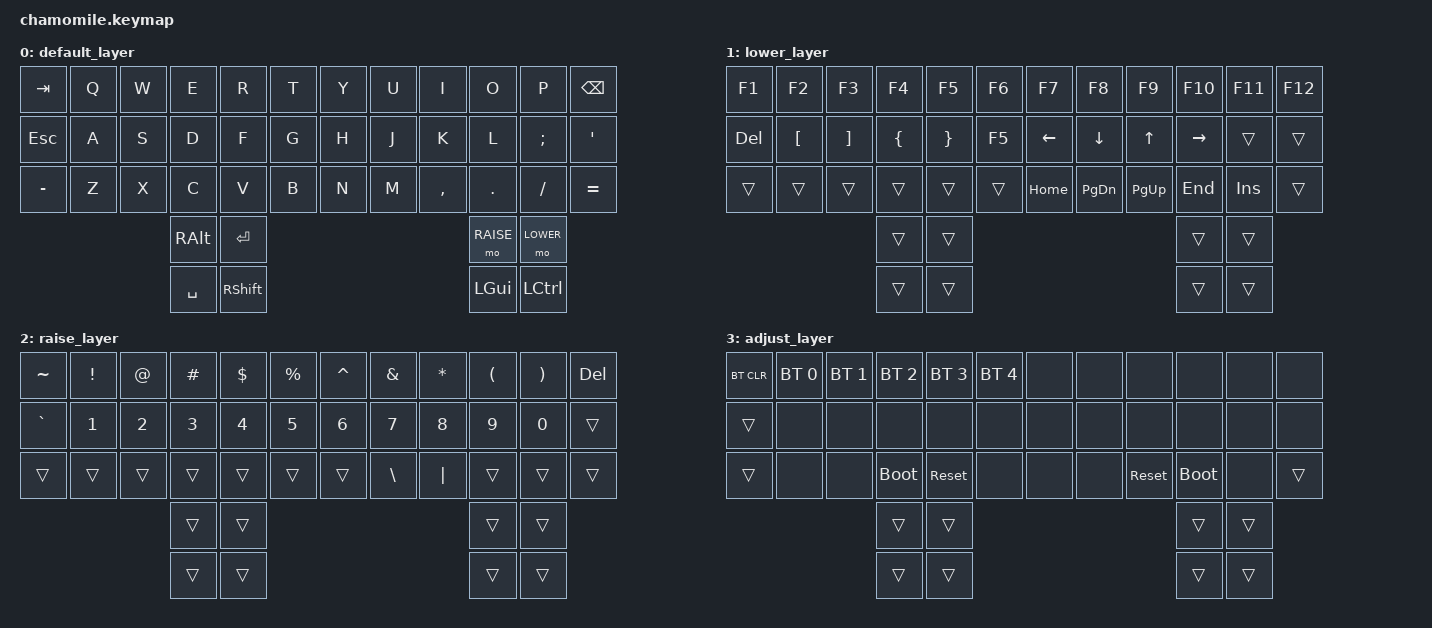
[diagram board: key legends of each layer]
// Copyright (c) 2026 The ZMK Contributors
// SPDX-License-Identifier: MIT

#include <behaviors.dtsi>
#include <dt-bindings/zmk/keys.h>
#include <dt-bindings/zmk/bt.h>
#include <dt-bindings/zmk/outputs.h>

#define BASE   0
#define LOWER  1
#define RAISE  2
#define ADJUST 3

/ {
	keymap {
		compatible = "zmk,keymap";

		default_layer {
			bindings = <
&kp TAB    &kp Q &kp W &kp E &kp R &kp T          &kp Y &kp U &kp I     &kp O    &kp P    &kp BSPC
&kp ESC    &kp A &kp S &kp D &kp F &kp G          &kp H &kp J &kp K     &kp L    &kp SEMI &kp SQT
&kp MINUS  &kp Z &kp X &kp C &kp V &kp B          &kp N &kp M &kp COMMA &kp DOT  &kp FSLH &kp EQUAL
                        &kp RALT  &kp RET                                &mo RAISE &mo LOWER
                        &kp SPACE &kp RSHIFT                             &kp LGUI  &kp LCTRL                              
			>;
		};

		lower_layer {
			bindings = <
&kp F1    &kp F2   &kp F3   &kp F4    &kp F5    &kp F6          &kp F7    &kp F8    &kp F9    &kp F10   &kp F11 &kp F12
&kp DEL   &kp LBKT &kp RBKT &kp LBRC  &kp RBRC  &kp F5          &kp LEFT  &kp DOWN  &kp UP    &kp RIGHT &trans  &trans
&trans    &trans   &trans   &trans    &trans    &trans          &kp HOME  &kp PG_DN &kp PG_UP &kp END   &kp INS &trans
                          &trans &trans                                     &trans   &trans
                          &trans &trans                                     &trans   &trans
			>;
		};

		raise_layer {
			bindings = <
&kp TILDE &kp EXCL  &kp AT    &kp HASH  &kp DLLR  &kp PRCNT          &kp CARET  &kp AMPS      &kp STAR   &kp LPAR  &kp RPAR  &kp DEL
&kp GRAVE &kp N1    &kp N2    &kp N3    &kp N4    &kp N5             &kp N6     &kp N7        &kp N8     &kp N9    &kp N0    &trans
&trans    &trans    &trans    &trans    &trans    &trans             &trans     &kp BSLH      &kp PIPE   &trans    &trans    &trans
                               &trans    &trans                                                &trans     &trans
                               &trans    &trans                                                &trans     &trans
			>;
		};

		adjust_layer {
			bindings = <
&bt BT_CLR   &bt BT_SEL 0 &bt BT_SEL 1 &bt BT_SEL 2 &bt BT_SEL 3 &bt BT_SEL 4          &none &none &none         &none         &none &none
&trans       &none        &none        &none        &none        &none                 &none &none &none         &none         &none &none
&trans       &none        &none        &bootloader  &sys_reset   &none                 &none &none &sys_reset    &bootloader   &none &trans
                                        &trans       &trans                                          &trans        &trans
                                        &trans       &trans                                          &trans        &trans
			>;
		};
	};
};
